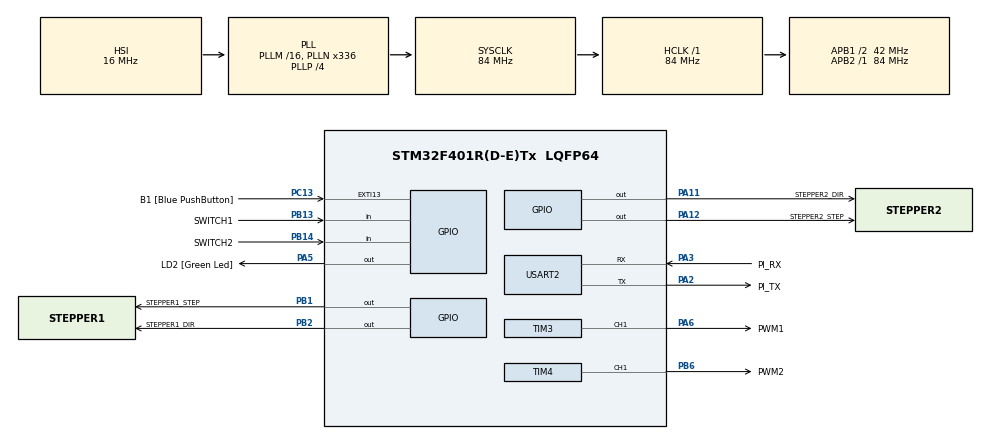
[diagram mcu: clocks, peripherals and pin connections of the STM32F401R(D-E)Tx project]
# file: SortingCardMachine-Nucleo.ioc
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Mcu.Family=STM32F4
Mcu.Name=STM32F401R(D-E)Tx
Mcu.Package=LQFP64
NVIC.PriorityGroup=NVIC_PRIORITYGROUP_0
PA11.GPIO_Label=STEPPER2_DIR
PA11.Signal=GPIO_Output
PA12.GPIO_Label=STEPPER2_STEP
PA12.Signal=GPIO_Output
PA13.GPIO_Label=TMS
PA13.Mode=Serial_Wire
PA13.Signal=SYS_JTMS-SWDIO
PA14.GPIO_Label=TCK
PA14.Mode=Serial_Wire
PA14.Signal=SYS_JTCK-SWCLK
PA2.GPIO_Label=PI_TX
PA2.GPIO_Mode=GPIO_MODE_AF_PP
PA2.GPIO_PuPd=GPIO_NOPULL
PA2.GPIO_Speed=GPIO_SPEED_FREQ_LOW
PA2.Mode=Asynchronous
PA2.Signal=USART2_TX
PA3.GPIO_Label=PI_RX
PA3.GPIO_Mode=GPIO_MODE_AF_PP
PA3.GPIO_PuPd=GPIO_NOPULL
PA3.GPIO_Speed=GPIO_SPEED_FREQ_LOW
PA3.Mode=Asynchronous
PA3.Signal=USART2_RX
PA5.GPIO_Label=LD2 [Green Led]
PA5.GPIO_Mode=GPIO_MODE_OUTPUT_PP
PA5.GPIO_PuPd=GPIO_NOPULL
PA5.GPIO_Speed=GPIO_SPEED_FREQ_LOW
PA5.Signal=GPIO_Output
PA6.GPIO_Label=PWM1
PA6.Signal=S_TIM3_CH1
PB1.GPIO_Label=STEPPER1_STEP
PB1.Signal=GPIO_Output
PB13.GPIO_Label=SWITCH1
PB13.Signal=GPIO_Input
PB14.GPIO_Label=SWITCH2
PB14.Signal=GPIO_Input
PB2.GPIO_Label=STEPPER1_DIR
PB2.Signal=GPIO_Output
PB3.GPIO_Label=SWO
PB3.Signal=SYS_JTDO-SWO
PB6.GPIO_Label=PWM2
PB6.Signal=S_TIM4_CH1
PC13-ANTI_TAMP.GPIO_Label=B1 [Blue PushButton]
PC13-ANTI_TAMP.GPIO_ModeDefaultEXTI=GPIO_MODE_IT_FALLING
PC13-ANTI_TAMP.GPIO_PuPd=GPIO_NOPULL
PC13-ANTI_TAMP.Signal=GPXTI13
PC14-OSC32_IN.Mode=LSE-External-Oscillator
PC14-OSC32_IN.Signal=RCC_OSC32_IN
PC15-OSC32_OUT.Mode=LSE-External-Oscillator
PC15-OSC32_OUT.Signal=RCC_OSC32_OUT
PH0\ -\ OSC_IN.Mode=HSE-External-Clock-Source
PH0\ -\ OSC_IN.Signal=RCC_OSC_IN
PH1\ -\ OSC_OUT.Mode=HSE-External-Clock-Source
PH1\ -\ OSC_OUT.Signal=RCC_OSC_OUT
ProjectManager.HeapSize=0x200
ProjectManager.StackSize=0x400
ProjectManager.TargetToolchain=STM32CubeIDE
RCC.48MHZClocksFreq_Value=48000000
RCC.AHBFreq_Value=84000000
RCC.APB1CLKDivider=RCC_HCLK_DIV2
RCC.APB1Freq_Value=42000000
RCC.APB1TimFreq_Value=84000000
RCC.APB2Freq_Value=84000000
RCC.APB2TimFreq_Value=84000000
RCC.CortexFreq_Value=84000000
RCC.HCLKFreq_Value=84000000
RCC.HSE_VALUE=8000000
RCC.HSI_VALUE=16000000
RCC.PLLN=336
RCC.PLLP=RCC_PLLP_DIV4
RCC.PLLQ=7
RCC.SYSCLKFreq_VALUE=84000000
RCC.SYSCLKSource=RCC_SYSCLKSOURCE_PLLCLK
RCC.VCOOutputFreq_Value=336000000
SH.S_TIM3_CH1.0=TIM3_CH1,PWM Generation1 CH1
SH.S_TIM4_CH1.0=TIM4_CH1,PWM Generation1 CH1
TIM3.Channel-PWM\ Generation1\ CH1=TIM_CHANNEL_1
TIM3.Period=1023
TIM3.Pulse-PWM\ Generation1\ CH1=256
TIM4.Channel-PWM\ Generation1\ CH1=TIM_CHANNEL_1
TIM4.Period=1023
TIM4.Pulse-PWM\ Generation1\ CH1=256
USART2.VirtualMode=VM_ASYNC
VP_TIM3_VS_ClockSourceINT.Mode=Internal
VP_TIM4_VS_ClockSourceINT.Mode=Internal
board=NUCLEO-F401RE

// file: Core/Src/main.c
/* USER CODE BEGIN Header */
/**
  ******************************************************************************
  * @file           : main.c
  * @brief          : Main program body
  ******************************************************************************
  * @attention
  *
  * Copyright (c) 2024 STMicroelectronics.
  * All rights reserved.
  *
  * This software is licensed under terms that can be found in the LICENSE file
  * in the root directory of this software component.
  * If no LICENSE file comes with this software, it is provided AS-IS.
  *
  ******************************************************************************
  */
/* USER CODE END Header */
#include "main.h"

/* USER CODE BEGIN Includes */
#include <string.h>
/* USER CODE END Includes */

/* USER CODE BEGIN PTD */
typedef struct __mOrder
{
  uint8_t tray; // the number of tray to go/ options: 0, 1, 2, 3;
  uint8_t flag_moreCards; // 1 true - more cards to sort. go back; 0 false no more cards. continoue;
  uint8_t flag_notEnd; // 1 true - go back for more rounds; 0 false ended. continue;
  uint8_t flag_start; // 1 true - start; 0 false don't start;
  uint8_t Error;
}mOrder;
/* USER CODE END PTD */

/* USER CODE BEGIN PD */
#define RX_BUFFER_SIZE 20
#define RX_DATA_SIZE 1

/***** STEPPER defines #######################################################*/
#define STEPS_PER_REVOLUTION 200 // Need to define
#define STEP_DELAY_MS 10 // Need to define
#define MOTOR_TASK_PRIORITY osPriorityNormal
#define MOTOR_TASK_STACK_SIZE 128
#define FORWARS 1
#define BACKWARDS 0
#define MAX_STEPS 1000 // Need to define
/***** Tray Positions defines ################################################*/
#define FIRST_LEVEL_POS 1 // Lowest level of Sorting Tray  //UPDATE!!
#define SECOND_LEVEL_POS 2 // Lowest level of Sorting Tray  //UPDATE!!
#define THIRD_LEVEL_POS 3 // Lowest level of Sorting Tray  //UPDATE!!
#define FOURTH_LEVEL_POS 4 // Lowest level of Sorting Tray  //UPDATE!!
/* USER CODE END PD */

TIM_HandleTypeDef htim3;
TIM_HandleTypeDef htim4;

UART_HandleTypeDef huart2;

/* USER CODE BEGIN PV */
/*
 * htim3 = main tray pusher
 * htim4 = return machanizem
*/
uint8_t rxBuffer[RX_BUFFER_SIZE];
uint8_t tempBuffer[2*RX_DATA_SIZE];
int16_t trayPosition = 0;
mOrder theMessege;
uint8_t taskSuspendFlag = 1; // 1 true - task running; 0 false task suspended;

uint8_t bufferIndexIT = 0;
uint8_t bufferIndexMain = 0;

int j = 0; // Delete
/* USER CODE END PV */

void SystemClock_Config(void);
static void MX_GPIO_Init(void);
static void MX_USART2_UART_Init(void);
static void MX_TIM3_Init(void);
static void MX_TIM4_Init(void);
/* USER CODE BEGIN PFP */
int getMessegeInterpret(uint8_t* buffer); // The function can return Struct of the information when we decife the struct
int getMessegeInterpret2(uint8_t* buffer); // Delete at the end
void calibration(); // The calibration of the Sorting Tray, Change the position to Zero at the end
void retrivigCards(); // The functuin  retriving the cards from the Sorting Tray back to the Feeding Tray
void StepperMove (int stepsToDir);
int calculateStepsToLevel(int level_to_go); // calculate the steps to the next level
void pullingHandlePush(); // Pushing the cards back to the Feeding Tray
void cardPushSpin(); // Pushing one card from the main deck
/* USER CODE END PFP */

int main(void)
{

  /* USER CODE BEGIN 1 */
  //HAL_UART_Transmit(&huart2,(uint8_t *) "Start running", sizeof("Start running"), 100);
  /* USER CODE END 1 */

  /* MCU Configuration--------------------------------------------------------*/

  /* Reset of all peripherals, Initializes the Flash interface and the Systick. */
  HAL_Init();

  /* Configure the system clock */
  SystemClock_Config();

  /* Initialize all configured peripherals */
  MX_GPIO_Init();
  MX_USART2_UART_Init();
  MX_TIM3_Init();
  MX_TIM4_Init();
  /* USER CODE BEGIN 2 */
  HAL_GPIO_WritePin(LD2_GPIO_Port, LD2_Pin, GPIO_PIN_SET);
  //Two ways to change DutyCycle
  TIM3->CCR1 = 512; //1st way
  __HAL_TIM_SET_COMPARE(&htim4, TIM_CHANNEL_1, 256); //2nd way

  HAL_TIM_PWM_Start(&htim3, TIM_CHANNEL_1);
  HAL_TIM_PWM_Start(&htim4, TIM_CHANNEL_1);
  HAL_Delay(1000);
  HAL_TIM_PWM_Stop(&htim3, TIM_CHANNEL_1);
  HAL_TIM_PWM_Stop(&htim4, TIM_CHANNEL_1);

  /*                             Section 2                                    */

  HAL_GPIO_WritePin(LD2_GPIO_Port, LD2_Pin, GPIO_PIN_RESET);
  calibration();

  do{ // To wait for the Start Command
	  getMessegeInterpret(rxBuffer);
	  HAL_Delay(500);
  }while(!theMessege.flag_start);

  /* USER CODE END 2 */

  /* Infinite loop */
  /* USER CODE BEGIN WHILE */
  while (1)
  {

	  if(theMessege.flag_moreCards && theMessege.flag_start){ //start and more cards
		  HAL_GPIO_WritePin(LD2_GPIO_Port, LD2_Pin, GPIO_PIN_RESET);
		  HAL_TIM_PWM_Start(&htim3, TIM_CHANNEL_1);//Starting the PWM of the roller motor

		  StepperMove(calculateStepsToLevel(theMessege.tray));//move Sorting Tray to position
		  cardPushSpin();//starting one loop of the PWM of the pushing DC motor

		  HAL_Delay(1000); // To make sure the card at the place

		  getMessegeInterpret(rxBuffer); // Get the next messege
  	  }
	  else if(!theMessege.flag_moreCards && theMessege.flag_start){ // no more cards and start
		  HAL_TIM_PWM_Stop(&htim3, TIM_CHANNEL_1);// Stop PWM of the DC motor of the roller
		  retrivigCards();//pulling back cards to the Feeding tray
		  getMessegeInterpret(rxBuffer); // Get the next messege
	  }
	  else if(!theMessege.flag_start){ // Not start = end
		  HAL_GPIO_TogglePin(LD2_GPIO_Port, LD2_Pin);//Turn on end indicator light
		  HAL_Delay(500);
		  // add pin for restart - 1 restart, 0, don't restart.
		  //Add if when restart to do calibration and read message to start again.
	  }

	  HAL_Delay(100);
    /* USER CODE END WHILE */

  }
}

void SystemClock_Config(void)
{
  RCC_OscInitTypeDef RCC_OscInitStruct = {0};
  RCC_ClkInitTypeDef RCC_ClkInitStruct = {0};

  /** Configure the main internal regulator output voltage
  */
  __HAL_RCC_PWR_CLK_ENABLE();
  __HAL_PWR_VOLTAGESCALING_CONFIG(PWR_REGULATOR_VOLTAGE_SCALE2);

  /** Initializes the RCC Oscillators according to the specified parameters
  * in the RCC_OscInitTypeDef structure.
  */
  RCC_OscInitStruct.OscillatorType = RCC_OSCILLATORTYPE_HSI;
  RCC_OscInitStruct.HSIState = RCC_HSI_ON;
  RCC_OscInitStruct.HSICalibrationValue = RCC_HSICALIBRATION_DEFAULT;
  RCC_OscInitStruct.PLL.PLLState = RCC_PLL_ON;
  RCC_OscInitStruct.PLL.PLLSource = RCC_PLLSOURCE_HSI;
  RCC_OscInitStruct.PLL.PLLM = 16;
  RCC_OscInitStruct.PLL.PLLN = 336;
  RCC_OscInitStruct.PLL.PLLP = RCC_PLLP_DIV4;
  RCC_OscInitStruct.PLL.PLLQ = 7;
  if (HAL_RCC_OscConfig(&RCC_OscInitStruct) != HAL_OK)
  {
    Error_Handler();
  }

  /** Initializes the CPU, AHB and APB buses clocks
  */
  RCC_ClkInitStruct.ClockType = RCC_CLOCKTYPE_HCLK|RCC_CLOCKTYPE_SYSCLK
                              |RCC_CLOCKTYPE_PCLK1|RCC_CLOCKTYPE_PCLK2;
  RCC_ClkInitStruct.SYSCLKSource = RCC_SYSCLKSOURCE_PLLCLK;
  RCC_ClkInitStruct.AHBCLKDivider = RCC_SYSCLK_DIV1;
  RCC_ClkInitStruct.APB1CLKDivider = RCC_HCLK_DIV2;
  RCC_ClkInitStruct.APB2CLKDivider = RCC_HCLK_DIV1;

  if (HAL_RCC_ClockConfig(&RCC_ClkInitStruct, FLASH_LATENCY_2) != HAL_OK)
  {
    Error_Handler();
  }
}

static void MX_TIM3_Init(void)
{

  TIM_ClockConfigTypeDef sClockSourceConfig = {0};
  TIM_MasterConfigTypeDef sMasterConfig = {0};
  TIM_OC_InitTypeDef sConfigOC = {0};

  htim3.Instance = TIM3;
  htim3.Init.Prescaler = 0;
  htim3.Init.CounterMode = TIM_COUNTERMODE_UP;
  htim3.Init.Period = 1023;
  htim3.Init.ClockDivision = TIM_CLOCKDIVISION_DIV1;
  htim3.Init.AutoReloadPreload = TIM_AUTORELOAD_PRELOAD_DISABLE;
  if (HAL_TIM_Base_Init(&htim3) != HAL_OK)
  {
    Error_Handler();
  }
  sClockSourceConfig.ClockSource = TIM_CLOCKSOURCE_INTERNAL;
  if (HAL_TIM_ConfigClockSource(&htim3, &sClockSourceConfig) != HAL_OK)
  {
    Error_Handler();
  }
  if (HAL_TIM_PWM_Init(&htim3) != HAL_OK)
  {
    Error_Handler();
  }
  sMasterConfig.MasterOutputTrigger = TIM_TRGO_RESET;
  sMasterConfig.MasterSlaveMode = TIM_MASTERSLAVEMODE_DISABLE;
  if (HAL_TIMEx_MasterConfigSynchronization(&htim3, &sMasterConfig) != HAL_OK)
  {
    Error_Handler();
  }
  sConfigOC.OCMode = TIM_OCMODE_PWM1;
  sConfigOC.Pulse = 256;
  sConfigOC.OCPolarity = TIM_OCPOLARITY_HIGH;
  sConfigOC.OCFastMode = TIM_OCFAST_DISABLE;
  if (HAL_TIM_PWM_ConfigChannel(&htim3, &sConfigOC, TIM_CHANNEL_1) != HAL_OK)
  {
    Error_Handler();
  }
  HAL_TIM_MspPostInit(&htim3);

}

static void MX_TIM4_Init(void)
{

  TIM_ClockConfigTypeDef sClockSourceConfig = {0};
  TIM_MasterConfigTypeDef sMasterConfig = {0};
  TIM_OC_InitTypeDef sConfigOC = {0};

  htim4.Instance = TIM4;
  htim4.Init.Prescaler = 0;
  htim4.Init.CounterMode = TIM_COUNTERMODE_UP;
  htim4.Init.Period = 1023;
  htim4.Init.ClockDivision = TIM_CLOCKDIVISION_DIV1;
  htim4.Init.AutoReloadPreload = TIM_AUTORELOAD_PRELOAD_DISABLE;
  if (HAL_TIM_Base_Init(&htim4) != HAL_OK)
  {
    Error_Handler();
  }
  sClockSourceConfig.ClockSource = TIM_CLOCKSOURCE_INTERNAL;
  if (HAL_TIM_ConfigClockSource(&htim4, &sClockSourceConfig) != HAL_OK)
  {
    Error_Handler();
  }
  if (HAL_TIM_PWM_Init(&htim4) != HAL_OK)
  {
    Error_Handler();
  }
  sMasterConfig.MasterOutputTrigger = TIM_TRGO_RESET;
  sMasterConfig.MasterSlaveMode = TIM_MASTERSLAVEMODE_DISABLE;
  if (HAL_TIMEx_MasterConfigSynchronization(&htim4, &sMasterConfig) != HAL_OK)
  {
    Error_Handler();
  }
  sConfigOC.OCMode = TIM_OCMODE_PWM1;
  sConfigOC.Pulse = 256;
  sConfigOC.OCPolarity = TIM_OCPOLARITY_HIGH;
  sConfigOC.OCFastMode = TIM_OCFAST_DISABLE;
  if (HAL_TIM_PWM_ConfigChannel(&htim4, &sConfigOC, TIM_CHANNEL_1) != HAL_OK)
  {
    Error_Handler();
  }
  HAL_TIM_MspPostInit(&htim4);

}

static void MX_USART2_UART_Init(void)
{

  huart2.Instance = USART2;
  huart2.Init.BaudRate = 115200;
  huart2.Init.WordLength = UART_WORDLENGTH_8B;
  huart2.Init.StopBits = UART_STOPBITS_1;
  huart2.Init.Parity = UART_PARITY_NONE;
  huart2.Init.Mode = UART_MODE_TX_RX;
  huart2.Init.HwFlowCtl = UART_HWCONTROL_NONE;
  huart2.Init.OverSampling = UART_OVERSAMPLING_16;
  if (HAL_UART_Init(&huart2) != HAL_OK)
  {
    Error_Handler();
  }

}

static void MX_GPIO_Init(void)
{
  GPIO_InitTypeDef GPIO_InitStruct = {0};

  /* GPIO Ports Clock Enable */
  __HAL_RCC_GPIOC_CLK_ENABLE();
  __HAL_RCC_GPIOH_CLK_ENABLE();
  __HAL_RCC_GPIOA_CLK_ENABLE();
  __HAL_RCC_GPIOB_CLK_ENABLE();

  /*Configure GPIO pin Output Level */
  HAL_GPIO_WritePin(GPIOA, LD2_Pin|STEPPER2_DIR_Pin|STEPPER2_STEP_Pin, GPIO_PIN_RESET);

  /*Configure GPIO pin Output Level */
  HAL_GPIO_WritePin(GPIOB, STEPPER1_STEP_Pin|STEPPER1_DIR_Pin, GPIO_PIN_RESET);

  /*Configure GPIO pin : B1_Pin */
  GPIO_InitStruct.Pin = B1_Pin;
  GPIO_InitStruct.Mode = GPIO_MODE_IT_FALLING;
  GPIO_InitStruct.Pull = GPIO_NOPULL;
  HAL_GPIO_Init(B1_GPIO_Port, &GPIO_InitStruct);

  /*Configure GPIO pins : LD2_Pin STEPPER2_DIR_Pin STEPPER2_STEP_Pin */
  GPIO_InitStruct.Pin = LD2_Pin|STEPPER2_DIR_Pin|STEPPER2_STEP_Pin;
  GPIO_InitStruct.Mode = GPIO_MODE_OUTPUT_PP;
  GPIO_InitStruct.Pull = GPIO_NOPULL;
  GPIO_InitStruct.Speed = GPIO_SPEED_FREQ_LOW;
  HAL_GPIO_Init(GPIOA, &GPIO_InitStruct);

  /*Configure GPIO pins : STEPPER1_STEP_Pin STEPPER1_DIR_Pin */
  GPIO_InitStruct.Pin = STEPPER1_STEP_Pin|STEPPER1_DIR_Pin;
  GPIO_InitStruct.Mode = GPIO_MODE_OUTPUT_PP;
  GPIO_InitStruct.Pull = GPIO_NOPULL;
  GPIO_InitStruct.Speed = GPIO_SPEED_FREQ_LOW;
  HAL_GPIO_Init(GPIOB, &GPIO_InitStruct);

  /*Configure GPIO pins : SWITCH1_Pin SWITCH2_Pin */
  GPIO_InitStruct.Pin = SWITCH1_Pin|SWITCH2_Pin;
  GPIO_InitStruct.Mode = GPIO_MODE_INPUT;
  GPIO_InitStruct.Pull = GPIO_NOPULL;
  HAL_GPIO_Init(GPIOB, &GPIO_InitStruct);

}

/* USER CODE BEGIN 4 */
/***** UART Interrupt Function ################################################*/
/*
  This function starting when messege is starting to arrive
  Then the function pushing the messege to xQueueUART
*/
/**
  * @brief  This function starting when messege is starting to arrive. Then the function pushing the messege to xQueueUART
  * @param  huart: UART handle
  * @retval None
  */
void HAL_UART_RxCpltCallback(UART_HandleTypeDef *huart){

  if (huart->Instance == USART1){

	  memcpy(rxBuffer + bufferIndexIT, tempBuffer, RX_DATA_SIZE);
	  bufferIndexIT += RX_DATA_SIZE;
	  if (bufferIndexIT + RX_DATA_SIZE >= RX_BUFFER_SIZE) bufferIndexIT = 0;
	  HAL_UART_Receive_IT(huart, tempBuffer, RX_DATA_SIZE);
  }

}

/***** calibration Function #################################################*/
/**
  *@brief function moves the Sorting tray until the switch is close
  *@note the function changes the trayPosition global variable
  *@retval int status: 1 OK, 0 Error
*/
void calibration(){

  int switchFlag = HAL_GPIO_ReadPin(SWITCH1_GPIO_Port, SWITCH1_Pin);
  HAL_GPIO_WritePin(STEPPER1_DIR_GPIO_Port, STEPPER1_DIR_Pin, BACKWARDS); // UP to the top position

  for (uint16_t i = 0; i < MAX_STEPS && !switchFlag; i++)
  {
    HAL_GPIO_WritePin(STEPPER1_STEP_GPIO_Port, STEPPER1_STEP_Pin, GPIO_PIN_SET);
    HAL_Delay(STEP_DELAY_MS); // Delay to allow stepper driver to register step
    HAL_GPIO_WritePin(STEPPER1_STEP_GPIO_Port, STEPPER1_STEP_Pin, GPIO_PIN_RESET);
    HAL_Delay(STEP_DELAY_MS); // Delay between steps
    switchFlag = HAL_GPIO_ReadPin(SWITCH1_GPIO_Port, SWITCH1_Pin);
  }

  trayPosition = 0;
}
/***** Retriving Function #################################################*/
/**
  *@brief The functuin  retriving the cards from the Sorting Tray back to the Feeding Tray
  *@note The function calls calibration function
  *@retval None
*/
void retrivigCards(){
  calibration();

  for (uint8_t i = 1; i <= 4; i++)
  {
	StepperMove(calculateStepsToLevel(i));
    pullingHandlePush();
  }

}
/***** calculation of steps to level Function ##############################*/
/**
  *@brief calculate the steps to the next level
  *@param level_to_go: The level to go to
  *@note the current level is the global trayPosition
  *@retval steps to go. positive is down, negative is up // Can be changed.
*/
int calculateStepsToLevel(int level_to_go){
  switch (level_to_go)
  {
  case 1:
    return FIRST_LEVEL_POS - trayPosition;
    break;
  case 2:
    return SECOND_LEVEL_POS - trayPosition;
    break;
  case 3:
    return THIRD_LEVEL_POS - trayPosition;
    break;
  case 4:
    return FOURTH_LEVEL_POS - trayPosition;
    break;

  default:
    return 0;
    break;
  }
}

/***** Stepper Move Function ##############################################*/
/**
  *@brief moving the Sorting Tray to position
  *@param stepsToDir: the number of steps to the next position.
  *@retval  None
*/
void StepperMove (int stepsToDir){
  uint32_t steps;
  uint8_t direction;
  if(stepsToDir > 0){
    direction = GPIO_PIN_SET;
    steps = stepsToDir;
  } else {
    direction = GPIO_PIN_RESET;
    steps = stepsToDir * -1;
  }

  HAL_GPIO_WritePin(STEPPER1_DIR_GPIO_Port, STEPPER1_DIR_Pin, direction); // (direction ? GPIO_PIN_SET : GPIO_PIN_RESET)

  for (uint32_t i = 0; i < steps; i++)
  {
    HAL_GPIO_WritePin(STEPPER1_STEP_GPIO_Port, STEPPER1_STEP_Pin, GPIO_PIN_SET);
    HAL_Delay(STEP_DELAY_MS); // Delay to allow stepper driver to register step
    HAL_GPIO_WritePin(STEPPER1_STEP_GPIO_Port, STEPPER1_STEP_Pin, GPIO_PIN_RESET);
    HAL_Delay(STEP_DELAY_MS); // Delay between steps

    trayPosition += direction ? 1 : (-1) ;
  }
}
/***** Pulling Handle Push Function ########################################*/
/**
  *@brief Pushing the cards back to the Feeding Tray
  *@retval  None
*/
void pullingHandlePush(){
  int steps = 100; //! edit to the right steps number
  for (int8_t dir = 1; dir >= 0 ; dir--)
  {
    HAL_GPIO_WritePin(STEPPER1_DIR_GPIO_Port, STEPPER1_DIR_Pin, dir);
    for (uint32_t i = 0; i < steps; i++)
    {
      HAL_GPIO_WritePin(STEPPER1_STEP_GPIO_Port, STEPPER1_STEP_Pin, GPIO_PIN_SET);
      HAL_Delay(STEP_DELAY_MS); // Delay to allow stepper driver to register step
      HAL_GPIO_WritePin(STEPPER1_STEP_GPIO_Port, STEPPER1_STEP_Pin, GPIO_PIN_RESET);
      HAL_Delay(STEP_DELAY_MS); // Delay between steps
    }
  }

}

/**
  *@brief Pushing one card from the main deck
  *@retval  None
*/
void cardPushSpin(){
  int switchFlag = HAL_GPIO_ReadPin(SWITCH2_GPIO_Port, SWITCH2_Pin);

  HAL_TIM_PWM_Start(&htim4, TIM_CHANNEL_1);

  for (uint8_t i = 0; i <= 255 && !switchFlag; i++)
  {
    HAL_Delay(10);
    switchFlag = HAL_GPIO_ReadPin(SWITCH2_GPIO_Port, SWITCH2_Pin);
  }

  HAL_TIM_PWM_Stop(&htim4, TIM_CHANNEL_1);
}

int getMessegeInterpret2(uint8_t* buffer){

	for ( ; bufferIndexMain == bufferIndexIT ; ){
		HAL_UART_Transmit(&huart2, (uint8_t*) "Waiting for message", sizeof("Waiting for message"), 1000);
		HAL_GPIO_WritePin(LD2_GPIO_Port, LD2_Pin, GPIO_PIN_SET);
		HAL_Delay(500);
		HAL_GPIO_WritePin(LD2_GPIO_Port, LD2_Pin, GPIO_PIN_RESET);
		HAL_Delay(500);
	}
	uint8_t msg8_t= *(buffer + bufferIndexMain);

	theMessege.tray = msg8_t & 0x03;  // 1st and 2nd bits
	theMessege.flag_moreCards = (msg8_t >> 2) & 0x01; // 3rd bit
	theMessege.flag_notEnd = (msg8_t >> 3) & 0x01; // 4th bit
	theMessege.flag_start = (msg8_t >> 4) & 0x01; // 5th bit
	theMessege.Error = (msg8_t >> 5) & 0x07; // 6th to 8th bits

	bufferIndexMain += RX_DATA_SIZE;
	if (bufferIndexMain >= RX_BUFFER_SIZE) bufferIndexMain = 0;

	return 1;
}

int getMessegeInterpret(uint8_t* buffer){
	uint8_t msg8_t;
	switch (j) {
		case 0:
			msg8_t = 0x14; // start
			break;
		case 1:
			msg8_t = 0x14;
			break;
		case 2:
			msg8_t = 0x15;
				break;
		case 3:
			msg8_t = 0x16;
				break;
		case 4:
			msg8_t = 0x15;
				break;
		case 5:
			msg8_t = 0x17;
				break;
		case 6:
			msg8_t = 0x14;
				break;
		case 7:
			msg8_t = 0x14;
				break;
		case 8:
			msg8_t = 0x15;
				break;
		case 9:
			msg8_t = 0x12;
				break;
		case 10:
			msg8_t = 0x01;
				break;
		default:
			break;
	}
	j++;

	theMessege.tray = msg8_t & 0x03;  // 1st and 2nd bits
	theMessege.flag_moreCards = (msg8_t >> 2) & 0x01; // 3rd bit
	theMessege.flag_notEnd = (msg8_t >> 3) & 0x01; // 4th bit
	theMessege.flag_start = (msg8_t >> 4) & 0x01; // 5th bit
	theMessege.Error = (msg8_t >> 5) & 0x07; // 6th to 8th bits

	bufferIndexMain += RX_DATA_SIZE;
	if (bufferIndexMain >= RX_BUFFER_SIZE) bufferIndexMain = 0;

	return 1;
}

/* USER CODE END 4 */

void Error_Handler(void)
{
  __disable_irq();
  while (1)
  {
  }
}
